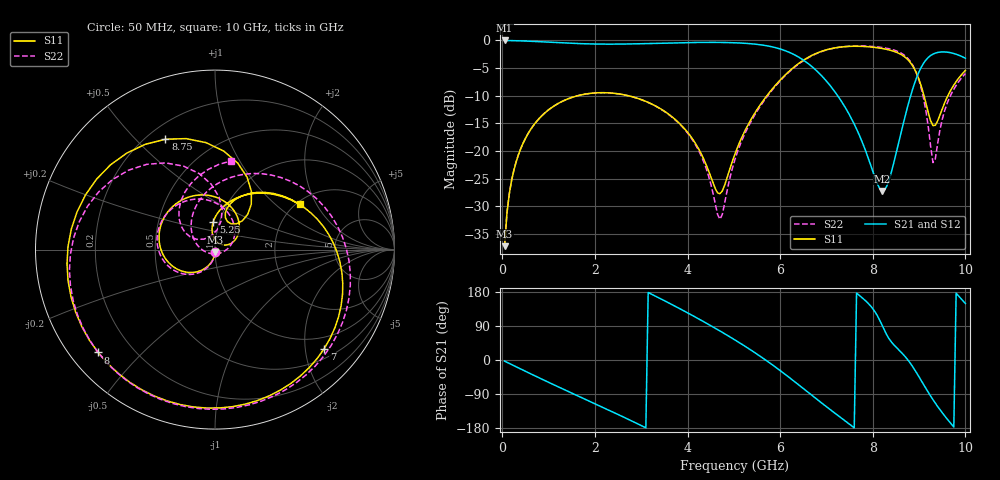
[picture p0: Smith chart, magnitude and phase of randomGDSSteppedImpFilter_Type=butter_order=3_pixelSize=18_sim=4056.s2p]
! freq	dB(S11)	phase(S11)	dB(S12)	phase(S12)
!  dB(S21)	phase(S21)	dB(S22)	phase(S22)
!S-par simulation data
#  GHz  S  DB  R 50
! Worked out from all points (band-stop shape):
!   200 points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, 50 MHz to 10 GHz, reference 50 ohm
!   highest |S21| = -0.02 dB at 50 MHz (marker M1); lowest = -27.2 dB at 8.2 GHz (marker M2)
!   |S21| within 3 dB of the highest: start of sweep to 6.398 GHz; 9.209 GHz to 9.95 GHz (741.1 MHz wide, 7.74 % of centre)
!   lowest |S11| = -37.2 dB at 50 MHz (marker M3), VSWR 1.03, Z = 50 - j1.38 ohm
!   |S11| at or under -10 dB: start of sweep to 1.631 GHz; 2.717 GHz to 5.714 GHz (2.997 GHz wide, 71.1 % of centre); 9.106 GHz to 9.623 GHz (516.7 MHz wide, 5.52 % of centre)
!   |S22| runs from -37.2 to -1.0 dB; largest |S21 - S12| = 0
!   S11 on the Smith chart (normalised r, x): 50 MHz: 1.00, -0.03; 5.25 GHz: 0.94, +0.30; 7 GHz: 0.71, -2.41; 8 GHz: 0.08, -0.38; 8.75 GHz: 0.27, +0.61; 10 GHz: 2.08, +1.47
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0.05  -37.20 -87.9  -0.02 -3.0  -0.02 -3.0  -37.18 -87.5
0.2  -25.35 -101.3  -0.04 -12.0  -0.04 -12.0  -25.34 -100.2
0.5  -17.72 -121.3  -0.12 -29.8  -0.12 -29.8  -17.71 -118.4
1.75  -9.78 163.0  -0.61 -101.4  -0.61 -101.4  -9.77 173.1
2.65  -9.88 109.8  -0.67 -152.4  -0.67 -152.4  -9.89 124.7
3.4  -12.28 64.8  -0.52 162.8  -0.52 162.8  -12.31 81.1
4.2  -19.04 23.3  -0.38 111.2  -0.38 111.2  -19.29 24.4
4.7  -27.72 61.5  -0.37 76.6  -0.37 76.6  -32.33 -87.3
5.05  -19.98 99.1  -0.45 51.0  -0.45 51.0  -20.85 170.5
5.25  -16.18 93.6  -0.54 35.6  -0.54 35.6  -16.65 148.2
5.85  -8.58 56.7  -1.22 -14.3  -1.22 -14.3  -8.76 88.6
6.7  -2.66 -14.9  -4.84 -94.6  -4.84 -94.6  -2.72 0.6
7  -1.71 -42.3  -7.37 -123.3  -7.37 -123.3  -1.74 -29.8
7.5  -1.08 -88.5  -13.52 -169.6  -13.52 -169.6  -1.06 -77.5
8  -1.23 -138.7  -23.65 135.6  -23.65 135.6  -1.11 -124.1
8.2  -1.47 -161.8  -27.22 92.0  -27.22 92.0  -1.29 -144.0
8.35  -1.73 178.8  -25.27 56.3  -25.27 56.3  -1.52 -160.2
8.75  -3.43 114.2  -12.05 1.3  -12.05 1.3  -3.20 145.7
9  -7.10 66.1  -5.66 -44.7  -5.66 -44.7  -7.27 101.8
9.3  -15.41 57.7  -2.49 -104.7  -2.49 -104.7  -22.09 106.7
9.65  -9.54 63.5  -2.19 -162.3  -2.19 -162.3  -10.48 132.2
10  -5.44 28.2  -3.23 149.3  -3.23 149.3  -5.98 79.8
